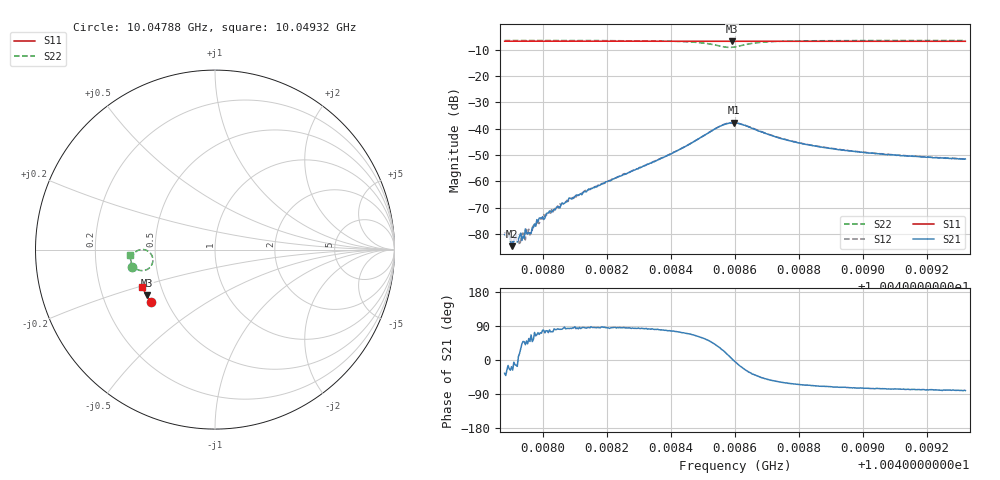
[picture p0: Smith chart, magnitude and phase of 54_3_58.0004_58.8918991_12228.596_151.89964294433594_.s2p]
#  HZ  S  RI  R  50.00
! Rohde & Schwarz Vector Network Analyzer
! Rohde-Schwarz,ZNB20-2Port,1311601062101988,3.16
! Created: UTC 3/21/2024, 12:52:43 AM
! freq[Hz]  re:S11  im:S11  re:S21  im:S21  re:S12  im:S12  re:S22  im:S22
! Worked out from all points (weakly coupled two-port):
!   401 points, 10.04788 GHz to 10.04932 GHz, reference 50 ohm
!   highest |S21| = -37.74 dB at 10.0486 GHz (marker M1); lowest = -84.7 dB at 10.0479 GHz (marker M2)
!   lowest |S11| = -6.8 dB at 10.04859 GHz (marker M3), VSWR 2.68, Z = 20.1 - j12.8 ohm
!   |S11| at or under -10 dB: nowhere
!   |S22| runs from -9.1 to -6.5 dB; largest |S21 - S12| = 0.00099
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1.004788e10  -0.3554 -0.2914  7.95e-05 -5.55e-05  9.17e-05 -4.94e-05  -0.4649 -0.0966
1.0047902e10  -0.3564 -0.2901  5.58e-05 -1.78e-05  6.34e-05 -2.2e-05  -0.4653 -0.0949
1.0047938e10  -0.3579 -0.2882  5.88e-05 6.75e-05  6.5e-05 8.13e-05  -0.4655 -0.0918
1.0047956e10  -0.3586 -0.2873  5.86e-05 8.89e-05  7.52e-05 9.69e-05  -0.4657 -0.0903
1.0047959e10  -0.3587 -0.287  6.71e-05 7.71e-05  5.81e-05 7.6e-05  -0.4658 -0.0901
1.0047977e10  -0.3593 -0.2861  6.28e-05 0.000128  4.79e-05 0.000132  -0.4661 -0.0884
1.0047988e10  -0.36 -0.2856  7.64e-05 0.000184  4.65e-05 0.00015  -0.466 -0.0875
1.004806e10  -0.3627 -0.2817  5.71e-05 0.00038  4.34e-05 0.000385  -0.4666 -0.0808
1.0048078e10  -0.3636 -0.2807  4.73e-05 0.000426  1.01e-05 0.000414  -0.4668 -0.079
1.0048121e10  -0.3653 -0.2784  5.06e-05 0.000552  8.79e-06 0.000594  -0.4668 -0.0748
1.0048363e10  -0.3742 -0.265  0.000457 0.00256  0.00029 0.00261  -0.4621 -0.0404
1.0048442e10  -0.3772 -0.2604  0.00144 0.00424  0.00119 0.00435  -0.4504 -0.0206
1.0048528e10  -0.3798 -0.2552  0.00632 0.00663  0.00596 0.007  -0.4 0.000593
1.0048564e10  -0.3805 -0.2533  0.0108 0.00494  0.0106 0.00551  -0.3592 -0.0211
1.0048589e10  -0.381 -0.2523  0.0128 0.000861  0.0127 0.00182  -0.346 -0.0598
1.0048597e10  -0.3815 -0.2519  0.013 -0.000378  0.0128 0.000604  -0.3477 -0.0719
1.00486e10  -0.3815 -0.252  0.0128 -0.000964  0.0127 -6.96e-05  -0.3494 -0.0774
1.004869e10  -0.3852 -0.2475  0.00555 -0.00622  0.00602 -0.00593  -0.4277 -0.1129
1.0048748e10  -0.3874 -0.2443  0.00329 -0.00551  0.0037 -0.00534  -0.4489 -0.0989
1.0048841e10  -0.3907 -0.2387  0.00183 -0.0044  0.00209 -0.00435  -0.4622 -0.0799
1.0049083e10  -0.3985 -0.2247  0.000752 -0.00313  0.000921 -0.0031  -0.4713 -0.0498
1.004932e10  -0.4058 -0.2107  0.000435 -0.00263  0.000588 -0.00261  -0.4738 -0.0287
